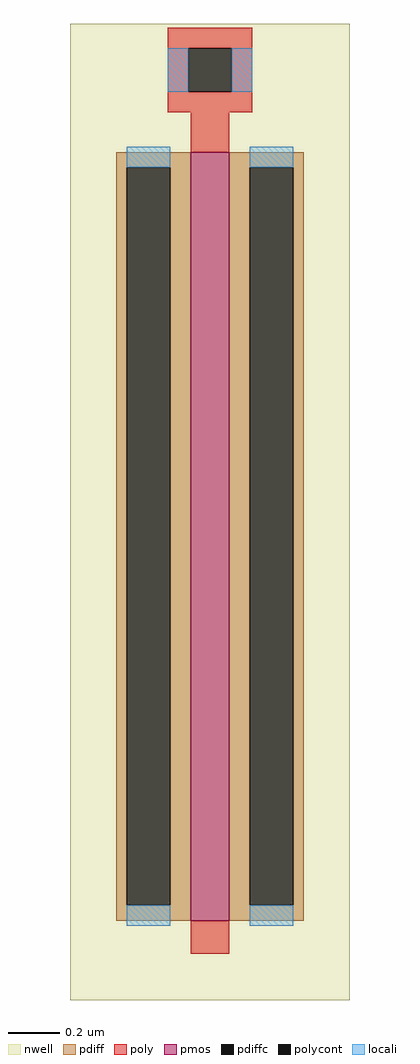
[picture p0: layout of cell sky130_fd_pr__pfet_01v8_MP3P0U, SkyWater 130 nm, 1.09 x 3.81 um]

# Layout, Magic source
magic
tech sky130A
magscale 1 2
<< nwell >>
rect -109 -298 109 464
<< pmos >>
rect -15 -236 15 364
<< pdiff >>
rect -73 352 -15 364
rect -73 -224 -65 352
rect -31 -224 -15 352
rect -73 -236 -15 -224
rect 15 352 73 364
rect 15 -224 31 352
rect 65 -224 73 352
rect 15 -236 73 -224
<< pdiffc >>
rect -65 -224 -31 352
rect 31 -224 65 352
<< poly >>
rect -33 445 33 461
rect -33 411 -17 445
rect 17 411 33 445
rect -33 395 33 411
rect -15 364 15 395
rect -15 -262 15 -236
<< polycont >>
rect -17 411 17 445
<< locali >>
rect -33 411 -17 445
rect 17 411 33 445
rect -65 352 -31 368
rect -65 -240 -31 -224
rect 31 352 65 368
rect 31 -240 65 -224
<< properties >>
string gencell sky130_fd_pr__pfet_01v8
string library sky130
string parameters w 2 l 0.15 m 1 nf 1 diffcov 100 polycov 100 guard 0 glc 0 grc 0 gtc 0 gbc 0 tbcov 100 rlcov 100 topc 1 botc 0 poverlap 0 doverlap 1 lmin 0.15 wmin 0.42 compatible {sky130_fd_pr__pfet_01v8  sky130_fd_pr__pfet_01v8_lvt sky130_fd_pr__pfet_01v8_hvt  sky130_fd_pr__pfet_g5v0d10v5} full_metal 0 viasrc 40 viadrn 40 viagate 100 viagb 0 viagr 0 viagl 0 viagt 80
<< end >>
